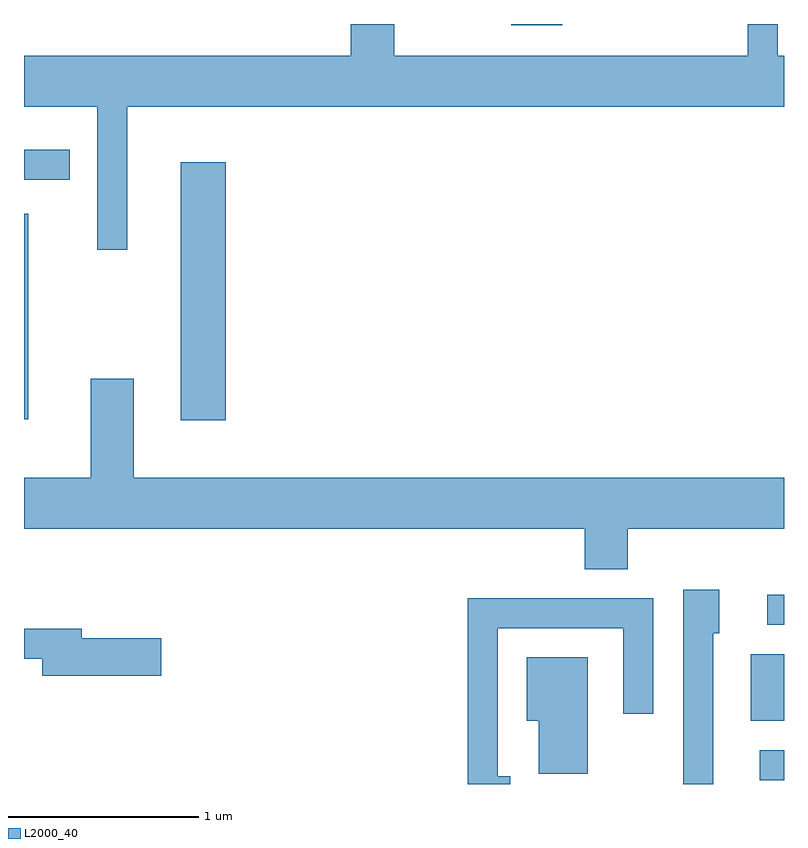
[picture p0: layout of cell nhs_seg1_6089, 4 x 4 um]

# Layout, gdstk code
import gdstk
lib = gdstk.Library(unit=1e-6, precision=1e-09)
def R(c, l, rs):  # rectangles x0, y0, x1, y1
    for r in rs: c.add(gdstk.rectangle(r[:2], r[2:], *l))
def P(c, l, *ps):  # polygons
    for p in ps: c.add(gdstk.Polygon(p, *l))
L2000_40 = (2000, 40)

nhs_seg1_6089 = lib.new_cell('nhs_seg1_6089')
R(nhs_seg1_6089, L2000_40, [(371.483,973.731,371.611,973.889), (371.436,974.046,371.611,974.394), (371.523,974.551,371.611,974.709), (368.436,975.626,368.674,976.984), (367.611,975.633,367.634,976.713), (367.611,976.891,367.853,977.049), (370.176,977.706,370.444,977.712)])
P(nhs_seg1_6089, L2000_40, [(368.154,977.276),(371.611,977.276),(371.611,977.544),(371.579,977.544),(371.579,977.712),(371.421,977.712),(371.421,977.544),(369.559,977.544),(369.559,977.712),(369.331,977.712),(369.331,977.544),(367.611,977.544),(367.611,977.276),(367.996,977.276),(367.996,976.523),(368.154,976.523)],
  [(370.789,975.056),(371.611,975.056),(371.611,975.324),(368.189,975.324),(368.189,975.844),(367.961,975.844),(367.961,975.324),(367.611,975.324),(367.611,975.056),(370.561,975.056),(370.561,974.841),(370.789,974.841)],
  [(371.239,974.506),(371.269,974.506),(371.269,974.734),(371.081,974.734),(371.081,973.712),(371.239,973.712)],
  [(370.169,973.754),(370.104,973.754),(370.104,974.531),(370.766,974.531),(370.766,974.083),(370.924,974.083),(370.924,974.689),(369.946,974.689),(369.946,973.712),(370.169,973.712)],
  [(368.334,974.479),(367.914,974.479),(367.914,974.529),(367.611,974.529),(367.611,974.371),(367.706,974.371),(367.706,974.281),(368.334,974.281)],
  [(370.579,974.379),(370.256,974.379),(370.256,974.046),(370.321,974.046),(370.321,973.766),(370.579,973.766)])

lib.write_gds('nhs_seg1_6089.gds')
